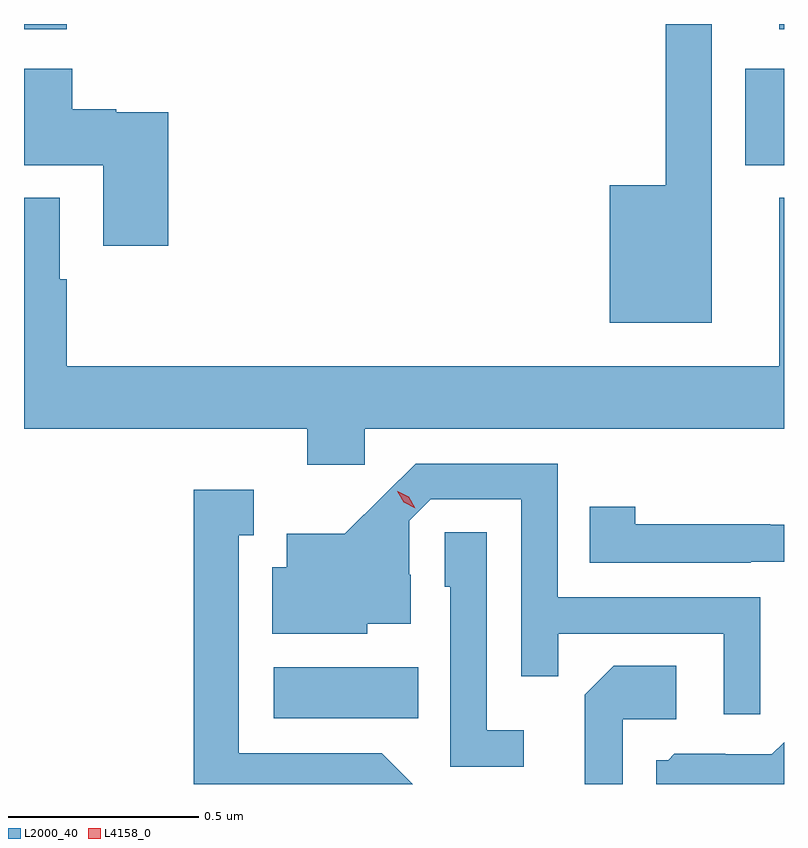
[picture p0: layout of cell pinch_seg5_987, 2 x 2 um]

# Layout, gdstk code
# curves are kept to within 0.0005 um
import gdstk
lib = gdstk.Library(unit=1e-6, precision=1e-09)
def R(c, l, rs):  # rectangles x0, y0, x1, y1
    for r in rs: c.add(gdstk.rectangle(r[:2], r[2:], *l))
def P(c, l, *ps):  # polygons
    for p in ps: c.add(gdstk.Polygon(p, *l))
L2000_40 = (2000, 40)
L4158_0 = (4158, 0)

pinch_seg5_987 = lib.new_cell('pinch_seg5_987')
R(pinch_seg5_987, L2000_40, [(719.682,883.97,720.062,884.104), (720.923,885.425,721.025,885.679), (719.025,885.783,719.137,885.797), (721.013,885.783,721.025,885.797)])
P(pinch_seg5_987, L2000_40, [(720.835,885.797),(720.714,885.797),(720.714,885.373),(720.566,885.373),(720.566,885.011),(720.835,885.011)],
  [(719.405,885.565),(719.268,885.565),(719.268,885.573),(719.152,885.573),(719.152,885.679),(719.025,885.679),(719.025,885.425),(719.234,885.425),(719.234,885.213),(719.405,885.213)],
  [(719.922,884.732),(721.025,884.732),(721.025,885.34),(721.013,885.34),(721.013,884.896),(719.137,884.896),(719.137,885.125),(719.119,885.125),(719.119,885.34),(719.025,885.34),(719.025,884.732),(719.771,884.732),(719.771,884.637),(719.922,884.637)],
  [(720.963,884.289),(720.429,884.289),(720.429,884.64),(720.056,884.64),(719.869,884.455),(719.717,884.455),(719.717,884.368),(719.678,884.368),(719.678,884.192),(719.928,884.192),(719.928,884.219),(720.043,884.219),(720.043,884.348),(720.039,884.348),(720.039,884.49),(720.096,884.547),(720.333,884.547),(720.333,884.08),(720.431,884.08),(720.431,884.193),(720.867,884.193),(720.867,883.98),(720.963,883.98)],
  [(719.967,883.878),(719.59,883.878),(719.59,884.451),(719.629,884.451),(719.629,884.572),(719.472,884.572),(719.472,883.797),(720.048,883.797)],
  [(720.938,884.382),(721.025,884.382),(721.025,884.479),(720.989,884.479),(720.989,884.48),(720.633,884.48),(720.633,884.527),(720.514,884.527),(720.514,884.379),(720.938,884.379)],
  [(720.34,883.939),(720.243,883.939),(720.243,884.459),(720.132,884.459),(720.132,884.316),(720.147,884.316),(720.147,883.842),(720.34,883.842)],
  [(720.6,883.968),(720.742,883.968),(720.742,884.108),(720.577,884.108),(720.501,884.032),(720.501,883.797),(720.6,883.797)],
  [(721.025,883.907),(720.993,883.875),(720.87,883.875),(720.87,883.876),(720.736,883.876),(720.72,883.86),(720.689,883.86),(720.689,883.797),(721.025,883.797)])
P(pinch_seg5_987, L4158_0, [(720.055,884.523),(720.024,884.538),(720.007,884.567),(720.007,884.568),(720.008,884.568),(720.038,884.553),(720.055,884.523),(720.055,884.523)])

lib.write_gds('pinch_seg5_987.gds')
